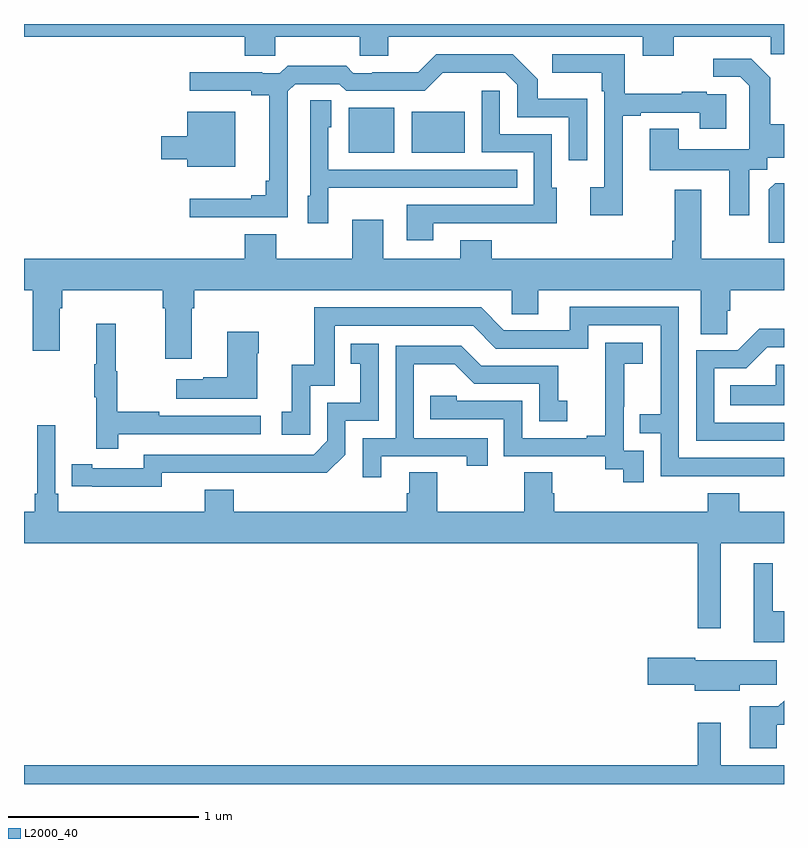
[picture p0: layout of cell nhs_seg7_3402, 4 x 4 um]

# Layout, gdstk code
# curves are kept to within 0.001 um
import gdstk
lib = gdstk.Library(unit=1e-6, precision=1e-09)
def R(c, l, rs):  # rectangles x0, y0, x1, y1
    for r in rs: c.add(gdstk.rectangle(r[:2], r[2:], *l))
def P(c, l, *ps):  # polygons
    for p in ps: c.add(gdstk.Polygon(p, *l))
L2000_40 = (2000, 40)

nhs_seg7_3402 = lib.new_cell('nhs_seg7_3402')
R(nhs_seg7_3402, L2000_40, [(328.709,1017.323,328.948,1017.559), (329.042,1017.323,329.32,1017.538)])
P(nhs_seg7_3402, L2000_40, [(330.421,1017.932),(330.931,1017.932),(330.931,1017.842),(331,1017.842),(331,1018),(327,1018),(327,1017.932),(328.163,1017.932),(328.163,1017.834),(328.323,1017.834),(328.323,1017.932),(328.768,1017.932),(328.768,1017.834),(328.918,1017.834),(328.918,1017.932),(330.257,1017.932),(330.257,1017.833),(330.421,1017.833)],
  [(328.389,1017.645),(328.428,1017.684),(328.659,1017.684),(328.695,1017.648),(329.109,1017.648),(329.204,1017.743),(329.532,1017.744),(329.595,1017.681),(329.595,1017.51),(329.868,1017.51),(329.868,1017.282),(329.964,1017.282),(329.964,1017.607),(329.703,1017.607),(329.703,1017.71),(329.572,1017.84),(329.169,1017.84),(329.075,1017.746),(328.834,1017.746),(328.834,1017.741),(328.734,1017.741),(328.695,1017.781),(328.387,1017.781),(328.347,1017.741),(328.253,1017.741),(328.253,1017.746),(327.873,1017.746),(327.873,1017.648),(328.196,1017.648),(328.196,1017.626),(328.292,1017.626),(328.292,1017.175),(328.273,1017.175),(328.273,1017.098),(328.196,1017.098),(328.196,1017.079),(327.873,1017.079),(327.873,1016.982),(328.389,1016.982)],
  [(330.151,1017.516),(330.247,1017.516),(330.247,1017.534),(330.557,1017.534),(330.557,1017.45),(330.697,1017.45),(330.697,1017.63),(330.593,1017.63),(330.593,1017.643),(330.461,1017.643),(330.461,1017.632),(330.163,1017.632),(330.163,1017.84),(329.781,1017.84),(329.781,1017.743),(330.042,1017.743),(330.042,1017.647),(330.054,1017.647),(330.054,1017.142),(329.979,1017.142),(329.979,1016.994),(330.151,1016.994)],
  [(330.817,1017.232),(330.912,1017.232),(330.912,1017.296),(331,1017.296),(331,1017.472),(330.927,1017.472),(330.927,1017.717),(330.827,1017.817),(330.627,1017.817),(330.627,1017.723),(330.771,1017.723),(330.818,1017.676),(330.818,1017.581),(330.816,1017.581),(330.816,1017.34),(330.445,1017.34),(330.445,1017.449),(330.293,1017.449),(330.293,1017.23),(330.713,1017.23),(330.713,1016.994),(330.817,1016.994)],
  [(329.155,1016.952),(329.585,1016.952),(329.585,1016.951),(329.803,1016.951),(329.803,1017.138),(329.778,1017.138),(329.778,1017.42),(329.505,1017.42),(329.505,1017.649),(329.409,1017.649),(329.409,1017.324),(329.682,1017.324),(329.682,1017.048),(329.015,1017.048),(329.015,1016.862),(329.155,1016.862)],
  [(328.602,1017.137),(328.919,1017.137),(328.919,1017.138),(329.597,1017.138),(329.597,1017.234),(328.602,1017.234),(328.602,1017.456),(328.618,1017.456),(328.618,1017.599),(328.506,1017.599),(328.506,1017.096),(328.493,1017.096),(328.493,1016.952),(328.602,1016.952)],
  [(328.111,1017.538),(327.86,1017.538),(327.86,1017.409),(327.723,1017.409),(327.723,1017.287),(327.86,1017.287),(327.86,1017.248),(328.111,1017.248)],
  [(331,1017.161),(330.953,1017.161),(330.921,1017.129),(330.921,1016.849),(331,1016.849)],
  [(327.883,1016.504),(327.896,1016.504),(327.896,1016.6),(329.568,1016.6),(329.568,1016.473),(329.707,1016.473),(329.707,1016.6),(330.563,1016.6),(330.563,1016.368),(330.702,1016.368),(330.702,1016.491),(330.716,1016.491),(330.716,1016.6),(331,1016.6),(331,1016.764),(330.565,1016.764),(330.565,1017.127),(330.425,1017.127),(330.425,1016.86),(330.413,1016.86),(330.413,1016.764),(329.461,1016.764),(329.461,1016.863),(329.297,1016.863),(329.297,1016.764),(328.891,1016.764),(328.891,1016.971),(328.727,1016.971),(328.727,1016.764),(328.327,1016.764),(328.327,1016.893),(328.163,1016.893),(328.163,1016.764),(327,1016.764),(327,1016.6),(327.047,1016.6),(327.047,1016.28),(327.187,1016.28),(327.187,1016.504),(327.2,1016.504),(327.2,1016.6),(327.731,1016.6),(327.731,1016.504),(327.743,1016.504),(327.743,1016.238),(327.883,1016.238)],
  [(331,1015.716),(330.447,1015.716),(330.447,1016.511),(329.873,1016.511),(329.873,1016.388),(329.526,1016.388),(329.406,1016.508),(328.527,1016.508),(328.527,1016.206),(328.409,1016.206),(328.409,1015.959),(328.356,1015.959),(328.356,1015.839),(328.506,1015.839),(328.506,1016.097),(328.635,1016.097),(328.635,1016.412),(329.364,1016.412),(329.484,1016.292),(329.97,1016.292),(329.97,1016.415),(330.351,1016.415),(330.351,1015.946),(330.241,1015.946),(330.241,1015.845),(330.351,1015.845),(330.351,1015.62),(331,1015.619)],
  [(327.497,1015.842),(328.246,1015.842),(328.246,1015.938),(327.713,1015.938),(327.713,1015.958),(327.49,1015.958),(327.49,1016.172),(327.482,1016.172),(327.482,1016.422),(327.38,1016.422),(327.38,1016.209),(327.369,1016.209),(327.369,1016.035),(327.38,1016.035),(327.38,1015.764),(327.497,1015.764)],
  [(331,1015.902),(330.633,1015.902),(330.633,1016.187),(330.802,1016.187),(330.913,1016.298),(331,1016.298),(331,1016.396),(330.869,1016.396),(330.756,1016.283),(330.537,1016.283),(330.537,1015.806),(331,1015.806)],
  [(328.228,1016.267),(328.236,1016.267),(328.236,1016.38),(328.07,1016.38),(328.07,1016.141),(327.944,1016.141),(327.944,1016.131),(327.801,1016.131),(327.801,1016.027),(328.228,1016.027)],
  [(330.261,1015.755),(330.156,1015.755),(330.156,1015.985),(330.158,1015.985),(330.158,1016.213),(330.256,1016.213),(330.256,1016.323),(330.058,1016.323),(330.058,1016.117),(330.059,1016.117),(330.059,1015.834),(329.963,1015.834),(329.963,1015.821),(329.622,1015.821),(329.622,1016.016),(329.277,1016.016),(329.277,1016.043),(329.137,1016.043),(329.137,1015.92),(329.526,1015.92),(329.526,1015.725),(330.06,1015.725),(330.06,1015.657),(330.153,1015.657),(330.153,1015.587),(330.261,1015.587)],
  [(327.726,1015.638),(328.594,1015.637),(328.692,1015.734),(328.692,1015.911),(328.866,1015.911),(328.866,1016.317),(328.72,1016.317),(328.72,1016.211),(328.769,1016.211),(328.769,1016.007),(328.596,1016.007),(328.596,1015.806),(328.524,1015.734),(327.63,1015.734),(327.63,1015.662),(327.358,1015.662),(327.358,1015.682),(327.25,1015.682),(327.25,1015.566),(327.726,1015.565)],
  [(328.879,1015.725),(329.33,1015.725),(329.33,1015.674),(329.441,1015.674),(329.441,1015.821),(329.052,1015.821),(329.052,1016.21),(329.266,1016.21),(329.37,1016.106),(329.712,1016.106),(329.712,1015.908),(329.86,1015.908),(329.86,1016.017),(329.811,1016.017),(329.811,1016.202),(329.407,1016.202),(329.302,1016.307),(328.956,1016.307),(328.956,1015.821),(328.782,1015.821),(328.782,1015.614),(328.879,1015.614)],
  [(331,1016.206),(330.957,1016.206),(330.957,1016.098),(330.718,1016.098),(330.718,1015.994),(331,1015.994)],
  [(330.667,1015.268),(331,1015.268),(331,1015.432),(330.764,1015.432),(330.764,1015.531),(330.599,1015.531),(330.599,1015.432),(329.792,1015.432),(329.792,1015.53),(329.779,1015.53),(329.779,1015.64),(329.632,1015.64),(329.632,1015.432),(329.175,1015.432),(329.175,1015.64),(329.027,1015.64),(329.027,1015.53),(329.015,1015.53),(329.015,1015.432),(328.103,1015.432),(328.103,1015.549),(327.95,1015.549),(327.95,1015.432),(327.179,1015.432),(327.179,1015.528),(327.165,1015.528),(327.165,1015.888),(327.069,1015.888),(327.069,1015.528),(327.057,1015.528),(327.057,1015.432),(327,1015.432),(327,1015.268),(330.546,1015.268),(330.546,1014.819),(330.667,1014.819)],
  [(331,1014.91),(330.94,1014.91),(330.94,1015.162),(330.842,1015.162),(330.842,1014.746),(331,1014.746)],
  [(330.766,1014.523),(330.961,1014.523),(330.961,1014.652),(330.534,1014.652),(330.534,1014.665),(330.282,1014.665),(330.282,1014.523),(330.53,1014.523),(330.53,1014.491),(330.766,1014.491)],
  [(330.961,1014.311),(331,1014.311),(331,1014.439),(330.97,1014.409),(330.821,1014.409),(330.821,1014.189),(330.961,1014.189)],
  [(331,1014.1),(330.667,1014.1),(330.667,1014.322),(330.546,1014.322),(330.546,1014.1),(327,1014.1),(327,1014),(331,1014)])

lib.write_gds('nhs_seg7_3402.gds')
